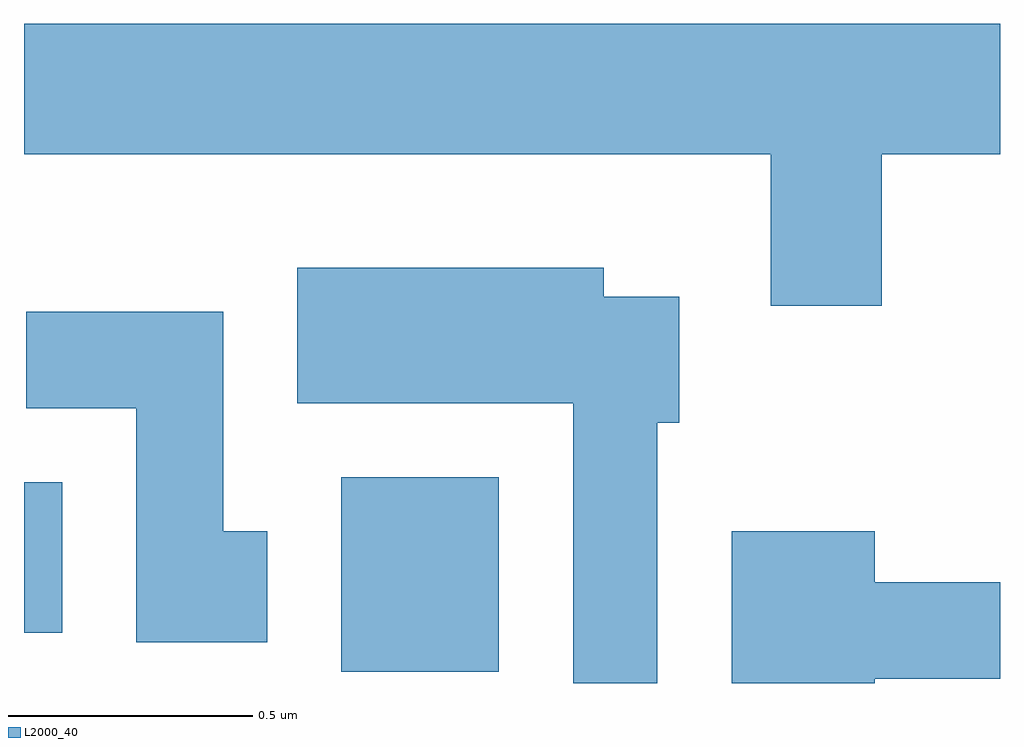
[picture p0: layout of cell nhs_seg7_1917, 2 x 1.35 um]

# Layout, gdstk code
import gdstk
lib = gdstk.Library(unit=1e-6, precision=1e-09)
def R(c, l, rs):  # rectangles x0, y0, x1, y1
    for r in rs: c.add(gdstk.rectangle(r[:2], r[2:], *l))
def P(c, l, *ps):  # polygons
    for p in ps: c.add(gdstk.Polygon(p, *l))
L2000_40 = (2000, 40)

nhs_seg7_1917 = lib.new_cell('nhs_seg7_1917')
R(nhs_seg7_1917, L2000_40, [(199.261,1804.276,199.584,1804.674), (198.611,1804.356,198.689,1804.664)])
P(nhs_seg7_1917, L2000_40, [(200.369,1805.336),(200.611,1805.336),(200.611,1805.604),(198.611,1805.604),(198.611,1805.336),(200.141,1805.336),(200.141,1805.026),(200.369,1805.026)],
  [(199.909,1804.786),(199.954,1804.786),(199.954,1805.044),(199.799,1805.044),(199.799,1805.104),(199.171,1805.104),(199.171,1804.826),(199.736,1804.826),(199.736,1804.252),(199.909,1804.252)],
  [(199.109,1804.564),(199.019,1804.564),(199.019,1805.014),(198.616,1805.014),(198.616,1804.816),(198.841,1804.816),(198.841,1804.336),(199.109,1804.336)],
  [(200.354,1804.261),(200.611,1804.261),(200.611,1804.459),(200.354,1804.459),(200.354,1804.564),(200.061,1804.564),(200.061,1804.252),(200.354,1804.252)])

lib.write_gds('nhs_seg7_1917.gds')
